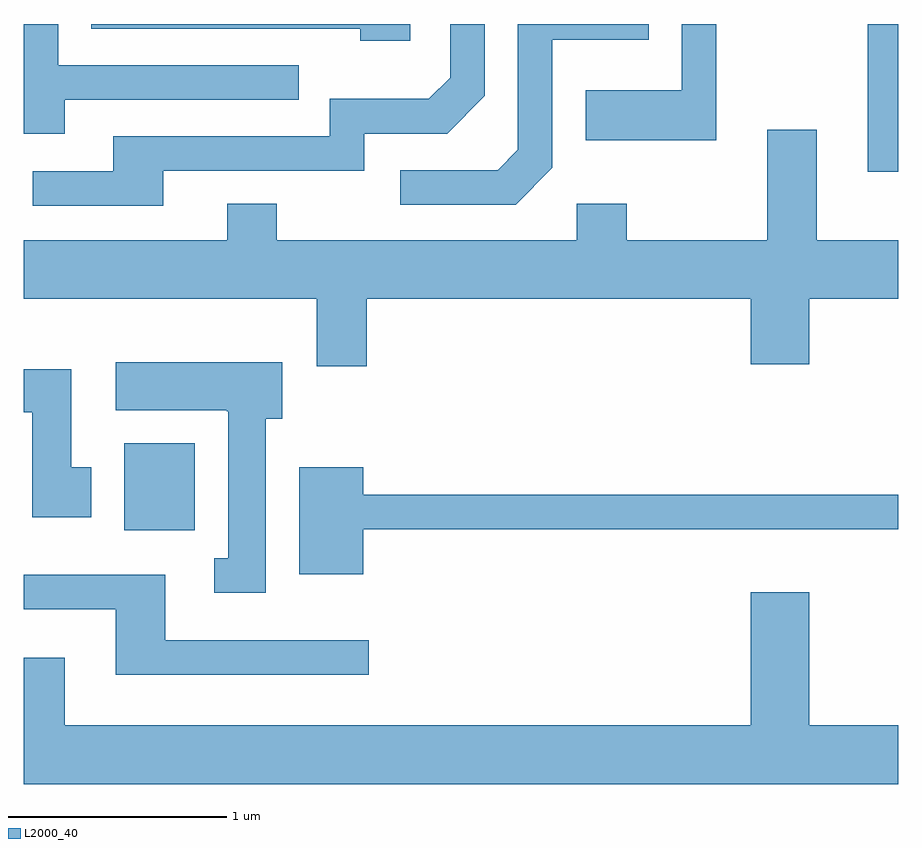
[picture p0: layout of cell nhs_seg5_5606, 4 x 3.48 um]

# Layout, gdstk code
import gdstk
lib = gdstk.Library(unit=1e-6, precision=1e-09)
def R(c, l, rs):  # rectangles x0, y0, x1, y1
    for r in rs: c.add(gdstk.rectangle(r[:2], r[2:], *l))
def P(c, l, *ps):  # polygons
    for p in ps: c.add(gdstk.Polygon(p, *l))
L2000_40 = (2000, 40)

nhs_seg5_5606 = lib.new_cell('nhs_seg5_5606')
R(nhs_seg5_5606, L2000_40, [(352.071,1435.756,352.394,1436.154), (355.471,1437.396,355.611,1438.072)])
P(nhs_seg5_5606, L2000_40, [(351.799,1437.726),(352.868,1437.726),(352.868,1437.884),(351.769,1437.884),(351.769,1438.072),(351.611,1438.072),(351.611,1437.571),(351.799,1437.571)],
  [(352.249,1437.401),(353.169,1437.401),(353.169,1437.571),(353.547,1437.571),(353.719,1437.744),(353.719,1438.072),(353.561,1438.072),(353.561,1437.827),(353.464,1437.729),(353.011,1437.729),(353.011,1437.559),(352.021,1437.559),(352.021,1437.399),(351.653,1437.399),(351.653,1437.241),(352.249,1437.241)],
  [(353.379,1438.072),(351.921,1438.072),(351.921,1438.051),(353.151,1438.051),(353.151,1437.996),(353.379,1437.996)],
  [(354.779,1438.072),(354.621,1438.072),(354.621,1437.769),(354.181,1437.769),(354.181,1437.541),(354.779,1437.541)],
  [(354.029,1437.414),(354.029,1438.001),(354.469,1438.001),(354.469,1438.072),(353.871,1438.072),(353.871,1437.497),(353.779,1437.404),(353.333,1437.404),(353.333,1437.246),(353.862,1437.246)],
  [(353.179,1436.816),(354.936,1436.816),(354.936,1436.516),(355.204,1436.516),(355.204,1436.816),(355.611,1436.816),(355.611,1437.084),(355.239,1437.084),(355.239,1437.589),(355.011,1437.589),(355.011,1437.084),(354.369,1437.084),(354.369,1437.249),(354.141,1437.249),(354.141,1437.084),(352.769,1437.084),(352.769,1437.249),(352.541,1437.249),(352.541,1437.084),(351.611,1437.084),(351.611,1436.816),(352.951,1436.816),(352.951,1436.506),(353.179,1436.506)],
  [(352.719,1436.266),(352.794,1436.266),(352.794,1436.524),(352.031,1436.524),(352.031,1436.306),(352.54,1436.306),(352.54,1436.3),(352.546,1436.3),(352.546,1435.629),(352.483,1435.629),(352.483,1435.471),(352.719,1435.471)],
  [(351.919,1436.044),(351.829,1436.044),(351.829,1436.494),(351.611,1436.494),(351.611,1436.296),(351.651,1436.296),(351.651,1435.816),(351.919,1435.816)],
  [(353.164,1435.761),(355.611,1435.761),(355.611,1435.919),(353.164,1435.919),(353.164,1436.044),(352.871,1436.044),(352.871,1435.556),(353.164,1435.556)],
  [(353.188,1435.254),(352.259,1435.254),(352.259,1435.554),(351.611,1435.554),(351.611,1435.396),(352.031,1435.396),(352.031,1435.096),(353.188,1435.096)],
  [(355.611,1434.864),(355.204,1434.864),(355.204,1435.474),(354.936,1435.474),(354.936,1434.864),(351.799,1434.864),(351.799,1435.174),(351.611,1435.174),(351.611,1434.596),(355.611,1434.596)])

lib.write_gds('nhs_seg5_5606.gds')
